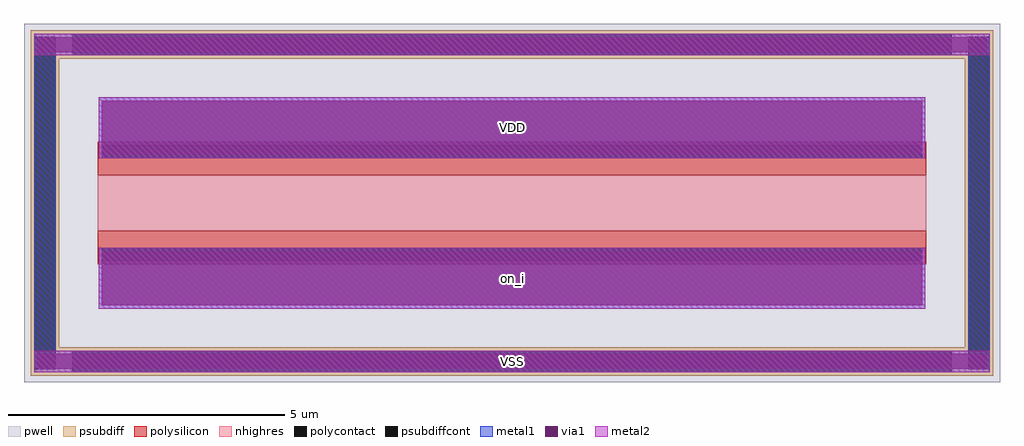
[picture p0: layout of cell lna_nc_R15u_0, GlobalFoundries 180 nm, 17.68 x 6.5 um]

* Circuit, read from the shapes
.subckt lna_nc_R15u_0 on_i VDD VSS
XR1 VDD on_i VSS ppolyf_u_1k r_width=15u r_length=1u
.ends

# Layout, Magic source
magic
tech gf180mcuD
magscale 1 10
<< pwell >>
rect -1768 -464 1768 836
<< psubdiff >>
rect -1744 -440 1744 -336
rect -1744 708 1744 812
rect -1744 -336 -1640 708
rect 1640 -336 1744 708
<< polysilicon >>
rect -1500 286 1500 408
rect -1500 -36 1500 86
<< nhighres >>
rect -1500 86 1500 286
<< psubdiffcont >>
rect -1731 -416 -1653 788
rect 1653 -416 1731 788
rect -1593 721 1593 799
rect -1593 -427 1593 -349
<< polycontact >>
rect -1487 349 1487 395
rect -1487 -23 1487 23
<< metal1 >>
rect -1498 349 1498 395
rect -1498 -23 1498 23
rect -1498 -197 1498 23
rect -1498 349 1498 569
rect -1731 -427 1731 -349
rect -1731 721 1731 799
rect -1731 -427 -1653 799
rect 1653 -427 1731 799
rect -1731 -427 1731 -349
rect -1731 721 1731 799
<< metal2 >>
rect -1498 -197 1498 23
rect -1498 349 1498 569
rect -1731 -427 1731 -349
rect -1731 721 1731 799
<< via1 >>
rect -1486 -185 1486 11
rect -1486 361 1486 557
rect -1719 -415 1719 -361
rect -1719 733 1719 787
<< labels >>
flabel metal2 s -1498 -197 1498 23 0 FreeSans 80 0 0 0 on_i
port 1 nsew signal bidirectional
flabel metal2 s -1498 349 1498 569 0 FreeSans 80 0 0 0 VDD
port 2 nsew signal bidirectional
flabel metal2 s -1731 -427 1731 -349 0 FreeSans 80 0 0 0 VSS
port 3 nsew signal bidirectional
<< end >>
